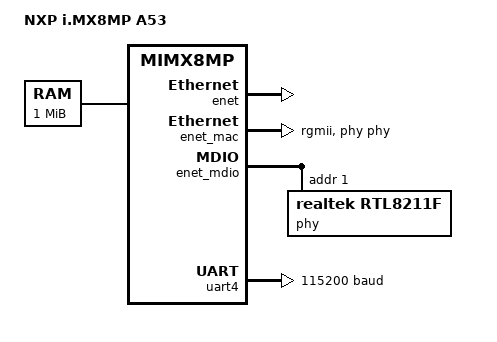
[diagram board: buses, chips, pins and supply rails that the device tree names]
/*
 * Copyright 2021-2022 NXP
 *
 * SPDX-License-Identifier: Apache-2.0
 */

/dts-v1/;

#include <nxp/nxp_mimx8mp_a53.dtsi>
#include "imx8mp_evk-pinctrl.dtsi"

/ {
	compatible = "fsl,mimx8mp";
	model = "NXP i.MX8MP A53";

	chosen {
		zephyr,console = &uart4;
		zephyr,shell-uart = &uart4;
		/* sram node actually locates at DDR DRAM */
		zephyr,sram = &dram;
	};

	cpus {
		cpu@0 {
			status = "disabled";
		};

		cpu@1 {
			status = "disabled";
		};
	};

	psci {
		compatible = "arm,psci-0.2";
		method = "smc";
	};

	dram: memory@c0000000 {
		reg = <0xc0000000 DT_SIZE_M(1)>;
	};
};

&enet {
	status = "okay";
};

&enet_mac {
	pinctrl-0 = <&pinmux_enet>;
	pinctrl-names = "default";
	phy-handle = <&phy>;
	phy-connection-type = "rgmii";
	zephyr,random-mac-address;
	status = "okay";
};

&enet_mdio {
	pinctrl-0 = <&pinmux_mdio>;
	pinctrl-names = "default";
	status = "okay";

	phy: phy@1 {
		compatible = "realtek,rtl8211f";
		reg = <1>;
		status = "okay";
	};
};

&uart4 {
	current-speed = <115200>;
	pinctrl-0 = <&uart4_default>;
	pinctrl-names = "default";
	status = "okay";
};
